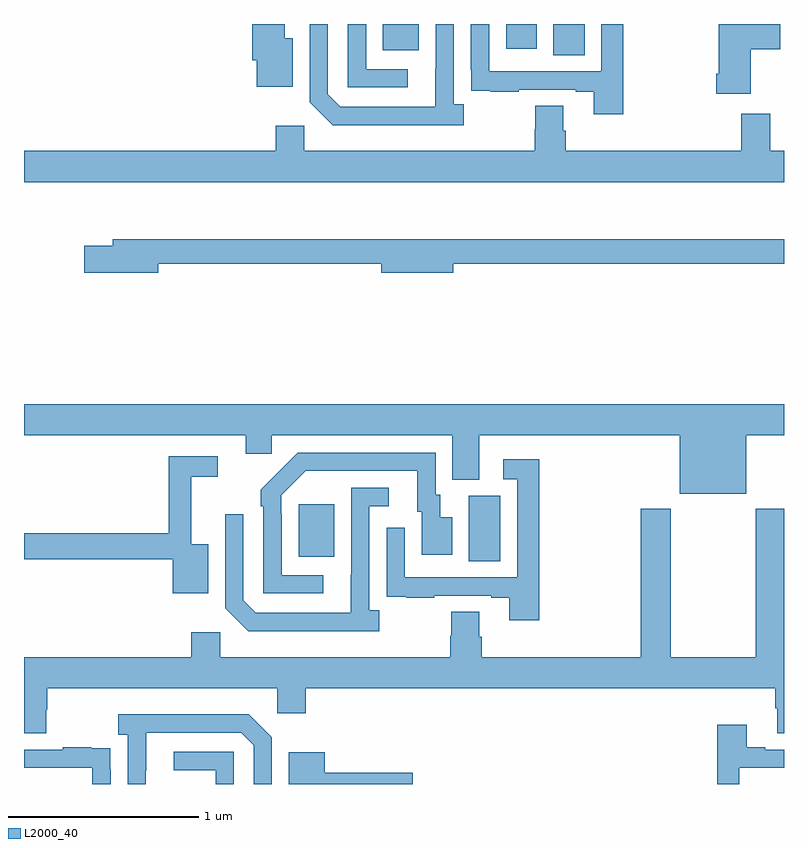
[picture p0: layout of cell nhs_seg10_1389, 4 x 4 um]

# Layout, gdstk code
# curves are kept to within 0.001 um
import gdstk
lib = gdstk.Library(unit=1e-6, precision=1e-09)
def R(c, l, rs):  # rectangles x0, y0, x1, y1
    for r in rs: c.add(gdstk.rectangle(r[:2], r[2:], *l))
def P(c, l, *ps):  # polygons
    for p in ps: c.add(gdstk.Polygon(p, *l))
L2000_40 = (2000, 40)

nhs_seg10_1389 = lib.new_cell('nhs_seg10_1389')
R(nhs_seg10_1389, L2000_40, [(185.342,1279.672,185.506,1280.016), (184.445,1279.697,184.633,1279.972), (185.786,1282.336,185.95,1282.5), (184.889,1282.361,185.077,1282.5), (185.537,1282.371,185.698,1282.5)])
P(nhs_seg10_1389, L2000_40, [(186.826,1282.366),(186.979,1282.366),(186.979,1282.5),(186.656,1282.5),(186.656,1282.237),(186.644,1282.237),(186.644,1282.133),(186.826,1282.133)],
  [(185.314,1282.078),(185.262,1282.078),(185.262,1282.5),(185.166,1282.5),(185.165,1282.065),(184.665,1282.065),(184.599,1282.131),(184.599,1282.5),(184.503,1282.5),(184.503,1282.089),(184.624,1281.968),(185.314,1281.968)],
  [(185.02,1282.263),(184.8,1282.263),(184.8,1282.5),(184.704,1282.5),(184.704,1282.167),(185.02,1282.167)],
  [(184.414,1282.426),(184.372,1282.426),(184.372,1282.5),(184.202,1282.5),(184.202,1282.308),(184.226,1282.308),(184.226,1282.169),(184.414,1282.169)],
  [(186.155,1282.5),(186.039,1282.5),(186.039,1282.251),(185.448,1282.251),(185.448,1282.5),(185.352,1282.5),(185.352,1282.258),(185.353,1282.258),(185.353,1282.149),(185.455,1282.149),(185.455,1282.143),(185.603,1282.143),(185.603,1282.155),(185.903,1282.155),(185.903,1282.143),(185.999,1282.143),(185.999,1282.026),(186.155,1282.026)],
  [(187,1281.832),(186.928,1281.832),(186.928,1282.027),(186.776,1282.027),(186.776,1281.832),(185.852,1281.832),(185.852,1281.938),(185.839,1281.938),(185.839,1282.07),(185.692,1282.07),(185.692,1281.945),(185.687,1281.945),(185.687,1281.832),(184.476,1281.832),(184.476,1281.964),(184.325,1281.964),(184.325,1281.832),(183,1281.832),(183,1281.668),(187,1281.668)],
  [(183.706,1281.238),(184.88,1281.238),(184.88,1281.191),(185.26,1281.191),(185.26,1281.238),(187,1281.238),(187,1281.367),(183.467,1281.367),(183.467,1281.333),(183.318,1281.333),(183.318,1281.191),(183.706,1281.191)],
  [(186.802,1280.336),(187,1280.336),(187,1280.5),(183,1280.5),(183,1280.336),(184.166,1280.336),(184.166,1280.238),(184.305,1280.238),(184.305,1280.336),(185.255,1280.336),(185.255,1280.101),(185.395,1280.101),(185.395,1280.336),(186.452,1280.336),(186.452,1280.027),(186.802,1280.027)],
  [(184.576,1279.599),(184.356,1279.599),(184.356,1279.919),(184.353,1279.919),(184.353,1280.019),(184.482,1280.148),(185.069,1280.148),(185.069,1279.932),(185.093,1279.932),(185.093,1279.707),(185.254,1279.707),(185.254,1279.903),(185.191,1279.903),(185.191,1280.022),(185.166,1280.022),(185.166,1280.244),(184.442,1280.244),(184.245,1280.049),(184.245,1279.961),(184.26,1279.961),(184.26,1279.503),(184.576,1279.503)],
  [(183.97,1279.762),(183.881,1279.762),(183.881,1280.118),(184.021,1280.118),(184.021,1280.226),(183.763,1280.226),(183.763,1279.82),(183,1279.82),(183,1279.684),(183.783,1279.684),(183.783,1279.505),(183.97,1279.505)],
  [(185.711,1280.209),(185.523,1280.209),(185.523,1280.103),(185.595,1280.103),(185.595,1279.587),(185.004,1279.587),(185.004,1279.849),(184.908,1279.849),(184.908,1279.594),(184.909,1279.594),(184.909,1279.485),(185.011,1279.485),(185.011,1279.479),(185.159,1279.479),(185.159,1279.491),(185.459,1279.491),(185.459,1279.479),(185.555,1279.479),(185.555,1279.362),(185.711,1279.362)],
  [(184.87,1279.414),(184.818,1279.414),(184.818,1279.962),(184.921,1279.962),(184.921,1280.058),(184.722,1280.058),(184.721,1279.401),(184.221,1279.401),(184.155,1279.467),(184.155,1279.921),(184.059,1279.921),(184.059,1279.425),(184.18,1279.304),(184.87,1279.304)],
  [(183.117,1278.891),(183.122,1278.891),(183.122,1279.004),(184.332,1279.004),(184.332,1278.873),(184.484,1278.873),(184.484,1279.004),(186.953,1279.004),(186.953,1278.898),(186.965,1278.898),(186.965,1278.766),(187,1278.766),(187,1279.948),(186.85,1279.948),(186.85,1279.168),(186.405,1279.168),(186.405,1279.948),(186.245,1279.948),(186.245,1279.168),(185.408,1279.168),(185.408,1279.274),(185.395,1279.274),(185.395,1279.406),(185.248,1279.406),(185.248,1279.281),(185.243,1279.281),(185.243,1279.168),(184.032,1279.168),(184.032,1279.3),(183.881,1279.3),(183.881,1279.168),(183,1279.168),(183,1278.766),(183.117,1278.766)],
  [(183.642,1278.571),(183.643,1278.771),(184.143,1278.771),(184.209,1278.705),(184.209,1278.5),(184.305,1278.5),(184.305,1278.747),(184.184,1278.868),(183.495,1278.868),(183.495,1278.758),(183.546,1278.758),(183.546,1278.5),(183.642,1278.5)],
  [(186.765,1278.585),(187,1278.585),(187,1278.681),(186.901,1278.681),(186.901,1278.694),(186.805,1278.694),(186.805,1278.811),(186.649,1278.811),(186.649,1278.5),(186.765,1278.5)],
  [(183.456,1278.578),(183.455,1278.578),(183.455,1278.687),(183.353,1278.687),(183.353,1278.694),(183.205,1278.694),(183.205,1278.681),(183,1278.681),(183,1278.585),(183.36,1278.585),(183.36,1278.5),(183.456,1278.5)],
  [(184.104,1278.669),(183.789,1278.669),(183.789,1278.573),(184.008,1278.573),(184.008,1278.5),(184.104,1278.5)],
  [(185.047,1278.558),(184.582,1278.558),(184.582,1278.667),(184.394,1278.667),(184.394,1278.5),(185.047,1278.5)])

lib.write_gds('nhs_seg10_1389.gds')
